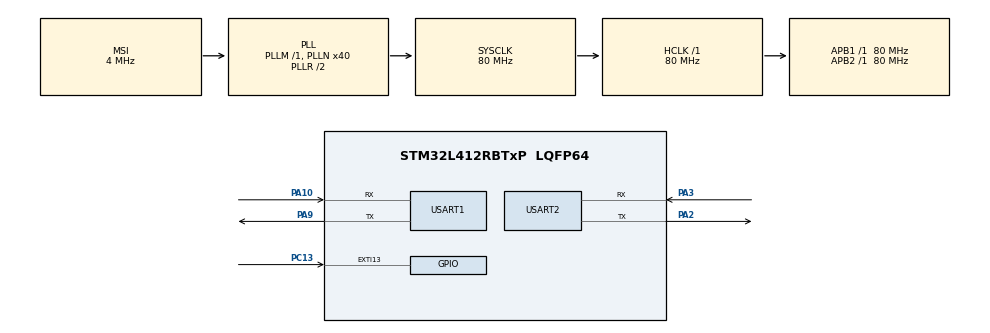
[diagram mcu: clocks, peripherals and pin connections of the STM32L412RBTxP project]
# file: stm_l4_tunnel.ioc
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Mcu.Family=STM32L4
Mcu.Name=STM32L412RBTxP
Mcu.Package=LQFP64
NVIC.EXTI15_10_IRQn=true\:0\:0\:false\:false\:true\:true\:true
NVIC.PriorityGroup=NVIC_PRIORITYGROUP_4
NVIC.USART1_IRQn=true\:0\:0\:false\:false\:true\:true\:true
NVIC.USART2_IRQn=true\:0\:0\:false\:false\:true\:true\:true
PA10.Mode=Asynchronous
PA10.Signal=USART1_RX
PA2.Mode=Asynchronous
PA2.Signal=USART2_TX
PA3.Mode=Asynchronous
PA3.Signal=USART2_RX
PA9.Mode=Asynchronous
PA9.Signal=USART1_TX
PC13.Signal=GPXTI13
ProjectManager.HeapSize=0x200
ProjectManager.StackSize=0x400
ProjectManager.TargetToolchain=STM32CubeIDE
RCC.ADCFreq_Value=80000000
RCC.AHBFreq_Value=80000000
RCC.APB1Freq_Value=80000000
RCC.APB1TimFreq_Value=80000000
RCC.APB2Freq_Value=80000000
RCC.APB2TimFreq_Value=80000000
RCC.CortexFreq_Value=80000000
RCC.HCLKFreq_Value=80000000
RCC.HSE_VALUE=8000000
RCC.HSI48_VALUE=48000000
RCC.HSI_VALUE=16000000
RCC.LSE_VALUE=32768
RCC.MSI_VALUE=4000000
RCC.PLLN=40
RCC.SYSCLKFreq_VALUE=80000000
RCC.SYSCLKSource=RCC_SYSCLKSOURCE_PLLCLK
RCC.USBFreq_Value=4000000
RCC.VCOOutputFreq_Value=160000000
USART1.VirtualMode-Asynchronous=VM_ASYNC
USART2.VirtualMode-Asynchronous=VM_ASYNC
board=custom

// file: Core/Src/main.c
/* USER CODE BEGIN Header */
/**
  ******************************************************************************
  * @file           : main.c
  * @brief          : Main program body
  ******************************************************************************
  * @attention
  *
  * <h2><center>&copy; Copyright (c) 2021 STMicroelectronics.
  * All rights reserved.</center></h2>
  *
  * This software component is licensed by ST under BSD 3-Clause license,
  * the "License"; You may not use this file except in compliance with the
  * License. You may obtain a copy of the License at:
  *                        opensource.org/licenses/BSD-3-Clause
  *
  ******************************************************************************
  */
/* USER CODE END Header */
#include "main.h"
#include "usart.h"
#include "gpio.h"

/* USER CODE BEGIN Includes */
#include <stdio.h>
/* USER CODE END Includes */

/* USER CODE BEGIN PD */
#ifdef __GNUC__
    #define PUTCHAR_PROTOTYPE int __io_putchar(int ch)
#else
    #define PUTCHAR_PROTOTYPE int fputc(int ch, FILE *f)
#endif

PUTCHAR_PROTOTYPE
{
  HAL_UART_Transmit(&huart1, (uint8_t *)&ch, 1, 0xFFFF);
  return ch;
}
/* USER CODE END PD */

/* USER CODE BEGIN PM */
#define ONE 1
#define QSIZE 128*4
/* USER CODE END PM */

/* USER CODE BEGIN PV */
uint8_t queue1[QSIZE] = {0};
uint64_t rx1 = 0;
uint64_t tx1 = 0;
uint8_t flag1 = 1;
uint8_t data_1;

uint8_t queue2[QSIZE] = {0};
uint64_t rx2 = 0;
uint64_t tx2 = 0;
uint8_t flag2 = 1;
uint8_t data_2;

//uint8_t idx_max = 128;
uint64_t mask = QSIZE-1;

/* USER CODE END PV */

void SystemClock_Config(void);

int main(void)
{

  /* MCU Configuration--------------------------------------------------------*/

  /* Reset of all peripherals, Initializes the Flash interface and the Systick. */
  HAL_Init();

  /* Configure the system clock */
  SystemClock_Config();

  /* Initialize all configured peripherals */
  MX_GPIO_Init();
  MX_USART1_UART_Init();
  MX_USART2_UART_Init();

  /* Infinite loop */
  /* USER CODE BEGIN WHILE */
#if ONE
  HAL_UART_Receive_IT(&huart1, &queue1[rx1++], 1);
  HAL_UART_Receive_IT(&huart2, &queue2[rx2++], 1);
#else
//  HAL_StatusTypeDef HAL_UART_Receive_DMA(UART_HandleTypeDef *huart, uint8_t *pData, uint16_t Size)
  HAL_UART_Receive_DMA(&huart1, &data_1, 1);
  HAL_UART_Receive_DMA(&huart2, &data_2, 1);
#endif
  while (1)
  {
#if ONE
	  if (flag1 && tx2 < rx2-1)
	  {
		  flag1 = 0;
		  HAL_UART_Transmit_IT(&huart1, &queue2[mask & tx2++], 1);
	  }

	  if (flag2 && tx1 < rx1-1)
	  {
		  flag2 = 0;
		  HAL_UART_Transmit_IT(&huart2, &queue1[mask & tx1++], 1);
	  }
#else
	  if (flag1 && tx2 < rx2)
	  {
		  flag1 = 0;
		  HAL_UART_Transmit_IT(&huart1, &queue2[mask & tx2++], 1);
	  }

	  if (flag2 && tx1 < rx1)
	  {
		  flag2 = 0;
		  HAL_UART_Transmit_IT(&huart2, &queue1[mask & tx1++], 1);
	  }
#endif
    /* USER CODE END WHILE */

  }
}

void SystemClock_Config(void)
{
  RCC_OscInitTypeDef RCC_OscInitStruct = {0};
  RCC_ClkInitTypeDef RCC_ClkInitStruct = {0};
  RCC_PeriphCLKInitTypeDef PeriphClkInit = {0};

  /** Configure the main internal regulator output voltage
  */
  if (HAL_PWREx_ControlVoltageScaling(PWR_REGULATOR_VOLTAGE_SCALE1) != HAL_OK)
  {
    Error_Handler();
  }
  /** Initializes the RCC Oscillators according to the specified parameters
  * in the RCC_OscInitTypeDef structure.
  */
  RCC_OscInitStruct.OscillatorType = RCC_OSCILLATORTYPE_MSI;
  RCC_OscInitStruct.MSIState = RCC_MSI_ON;
  RCC_OscInitStruct.MSICalibrationValue = 0;
  RCC_OscInitStruct.MSIClockRange = RCC_MSIRANGE_6;
  RCC_OscInitStruct.PLL.PLLState = RCC_PLL_ON;
  RCC_OscInitStruct.PLL.PLLSource = RCC_PLLSOURCE_MSI;
  RCC_OscInitStruct.PLL.PLLM = 1;
  RCC_OscInitStruct.PLL.PLLN = 40;
  RCC_OscInitStruct.PLL.PLLQ = RCC_PLLQ_DIV2;
  RCC_OscInitStruct.PLL.PLLR = RCC_PLLR_DIV2;
  if (HAL_RCC_OscConfig(&RCC_OscInitStruct) != HAL_OK)
  {
    Error_Handler();
  }
  /** Initializes the CPU, AHB and APB buses clocks
  */
  RCC_ClkInitStruct.ClockType = RCC_CLOCKTYPE_HCLK|RCC_CLOCKTYPE_SYSCLK
                              |RCC_CLOCKTYPE_PCLK1|RCC_CLOCKTYPE_PCLK2;
  RCC_ClkInitStruct.SYSCLKSource = RCC_SYSCLKSOURCE_PLLCLK;
  RCC_ClkInitStruct.AHBCLKDivider = RCC_SYSCLK_DIV1;
  RCC_ClkInitStruct.APB1CLKDivider = RCC_HCLK_DIV1;
  RCC_ClkInitStruct.APB2CLKDivider = RCC_HCLK_DIV1;

  if (HAL_RCC_ClockConfig(&RCC_ClkInitStruct, FLASH_LATENCY_4) != HAL_OK)
  {
    Error_Handler();
  }
  PeriphClkInit.PeriphClockSelection = RCC_PERIPHCLK_USART1|RCC_PERIPHCLK_USART2;
  PeriphClkInit.Usart1ClockSelection = RCC_USART1CLKSOURCE_PCLK2;
  PeriphClkInit.Usart2ClockSelection = RCC_USART2CLKSOURCE_PCLK1;
  if (HAL_RCCEx_PeriphCLKConfig(&PeriphClkInit) != HAL_OK)
  {
    Error_Handler();
  }
}

/* USER CODE BEGIN 4 */
void HAL_UART_TxCpltCallback(UART_HandleTypeDef *huart)
{
#if ONE
	if (huart->Instance == USART1)
	{
		flag1 = 1;
	}
	else if (huart->Instance == USART2)
	{
		flag2 = 1;
	}
#else
	if (huart->Instance == USART1)
	{
		flag1 = 1;
//		tx1++;
	}
	else if (huart->Instance == USART2)
	{
		flag2 = 1;
//		tx2++;
	}
#endif
}

void HAL_UART_RxCpltCallback(UART_HandleTypeDef *huart)
{
#if ONE
  if (huart->Instance == USART1)
  {
	  HAL_UART_Receive_IT(&huart1, &queue1[mask & rx1++], 1);
  }
  else if (huart->Instance == USART2)
  {
	  HAL_UART_Receive_IT(&huart2, &queue2[mask & rx2++], 1);
  }
#else
  if (huart->Instance == USART1)
  {
	  queue1[mask & rx1++] = data_1;
  }
  else if (huart->Instance == USART2)
  {
	  queue2[mask & rx2++] = data_2;
  }
#endif
}

void HAL_GPIO_EXTI_Callback(uint16_t GPIO_Pin)
{
//	HAL_UART_Transmit(&huart2, &cnt1, 1, 1);
//	HAL_UART_Transmit(&huart2, &cnt2, 1, 1);
//	HAL_UART_Transmit(&huart1, &test, 1, 1);
//	printf("cnt1 : %d , cnt2 : %d \r\n", cnt1, cnt2);
}
/* USER CODE END 4 */

void Error_Handler(void)
{
  __disable_irq();
  while (1)
  {
  }
}

/************************ (C) COPYRIGHT STMicroelectronics *****END OF FILE****/
